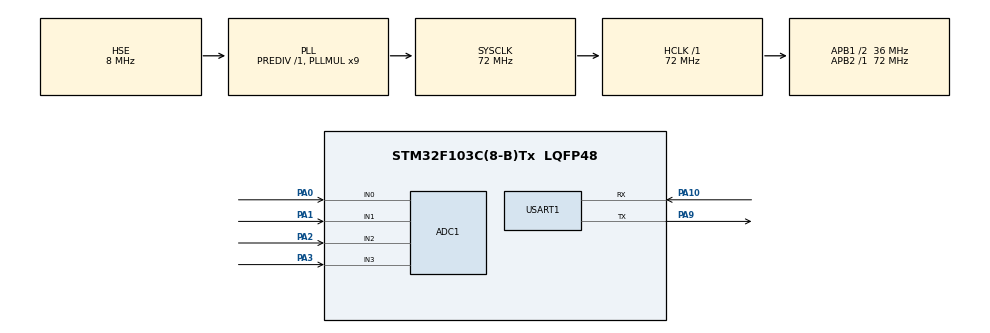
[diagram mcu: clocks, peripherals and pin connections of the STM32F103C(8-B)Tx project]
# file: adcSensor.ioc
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ADC1.Channel-0\#ChannelRegularConversion=ADC_CHANNEL_0
ADC1.NbrOfConversionFlag=1
ADC1.Rank-0\#ChannelRegularConversion=1
ADC1.SamplingTime-0\#ChannelRegularConversion=ADC_SAMPLETIME_1CYCLE_5
ADC1.master=1
Mcu.Family=STM32F1
Mcu.Name=STM32F103C(8-B)Tx
Mcu.Package=LQFP48
NVIC.PriorityGroup=NVIC_PRIORITYGROUP_4
PA0-WKUP.Signal=ADCx_IN0
PA1.Signal=ADCx_IN1
PA10.Mode=Asynchronous
PA10.Signal=USART1_RX
PA2.Signal=ADCx_IN2
PA3.Signal=ADCx_IN3
PA9.Mode=Asynchronous
PA9.Signal=USART1_TX
PD0-OSC_IN.Mode=HSE-External-Oscillator
PD0-OSC_IN.Signal=RCC_OSC_IN
PD1-OSC_OUT.Mode=HSE-External-Oscillator
PD1-OSC_OUT.Signal=RCC_OSC_OUT
ProjectManager.HeapSize=0x200
ProjectManager.StackSize=0x400
ProjectManager.TargetToolchain=STM32CubeIDE
RCC.ADCPresc=RCC_ADCPCLK2_DIV6
RCC.AHBFreq_Value=72000000
RCC.APB1CLKDivider=RCC_HCLK_DIV2
RCC.APB1Freq_Value=36000000
RCC.APB1TimFreq_Value=72000000
RCC.APB2Freq_Value=72000000
RCC.APB2TimFreq_Value=72000000
RCC.HCLKFreq_Value=72000000
RCC.PLLMUL=RCC_PLL_MUL9
RCC.PLLSourceVirtual=RCC_PLLSOURCE_HSE
RCC.SYSCLKFreq_VALUE=72000000
RCC.SYSCLKSource=RCC_SYSCLKSOURCE_PLLCLK
RCC.USBFreq_Value=72000000
SH.ADCx_IN0.0=ADC1_IN0,IN0
SH.ADCx_IN1.0=ADC1_IN1,IN1
SH.ADCx_IN2.0=ADC1_IN2,IN2
SH.ADCx_IN3.0=ADC1_IN3,IN3
USART1.VirtualMode=VM_ASYNC
VP_SYS_VS_ND.Mode=No_Debug
board=custom

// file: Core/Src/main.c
/* USER CODE BEGIN Header */
/**
  ******************************************************************************
  * @file           : main.c
  * @brief          : Main program body
  ******************************************************************************
  * @attention
  *
  * Copyright (c) 2026 STMicroelectronics.
  * All rights reserved.
  *
  * This software is licensed under terms that can be found in the LICENSE file
  * in the root directory of this software component.
  * If no LICENSE file comes with this software, it is provided AS-IS.
  *
  ******************************************************************************
  */
/* USER CODE END Header */
#include "main.h"

ADC_HandleTypeDef hadc1;

UART_HandleTypeDef huart1;

void SystemClock_Config(void);
static void MX_GPIO_Init(void);
static void MX_ADC1_Init(void);
static void MX_USART1_UART_Init(void);

/* USER CODE BEGIN 0 */

//create two functions

uint32_t ADC_Read(uint32_t channel) //channel num -> adc_val 0 to 4095
{
	ADC_ChannelConfTypeDef sConfig = {0};

	sConfig.Channel = channel;  //select the channel
	sConfig.Rank = ADC_REGULAR_RANK_1;
	sConfig.SamplingTime = ADC_SAMPLETIME_55CYCLES_5;

	HAL_ADC_ConfigChannel(&hadc1, &sConfig);

	HAL_ADC_Start(&hadc1);
	HAL_ADC_PollForConversion(&hadc1, 100); //wait till conversion is completed
	uint32_t val = HAL_ADC_GetValue(&hadc1);  //return converted value
	HAL_ADC_Stop(&hadc1);

	return val;
}
// usage in main loop
void read_all_sensors(void)
{
	uint32_t raw_accel = ADC_Read(ADC_CHANNEL_0); //pa0 accelerator
	uint32_t raw_brake = ADC_Read(ADC_CHANNEL_1); //pa1
	uint32_t raw_soc = ADC_Read(ADC_CHANNEL_2); //pa2
	uint32_t raw_temp = ADC_Read(ADC_CHANNEL_3); //pa3

	uint8_t accel_pct = raw_accel * 100/4095;
	uint8_t brake_pct = raw_brake * 100/4095;
	uint8_t soc_pct = raw_soc * 100/4095;
	uint8_t temp_c = raw_temp * 150/4095; //0 to 150 degree C range

	//print over uart
	char buf[80];
	int len = sprintf(buf, "ACCEL=%3d%% BRAKE=%3d%% SOC=%3d%% TEMP=%3d\r\n",
			accel_pct, brake_pct, soc_pct, temp_c);

	HAL_UART_Transmit(&huart1, (uint8_t*)buf, len, 100);
}
/* USER CODE END 0 */

int main(void)
{

  /* MCU Configuration--------------------------------------------------------*/

  /* Reset of all peripherals, Initializes the Flash interface and the Systick. */
  HAL_Init();

  /* Configure the system clock */
  SystemClock_Config();

  /* Initialize all configured peripherals */
  MX_GPIO_Init();
  MX_ADC1_Init();
  MX_USART1_UART_Init();

  /* Infinite loop */
  while (1)
  {

	  //read adc values one by one
	  //scale them
	  //print it on io terminal
	  read_all_sensors();
	  HAL_Delay(200);

  }
}

void SystemClock_Config(void)
{
  RCC_OscInitTypeDef RCC_OscInitStruct = {0};
  RCC_ClkInitTypeDef RCC_ClkInitStruct = {0};
  RCC_PeriphCLKInitTypeDef PeriphClkInit = {0};

  /** Initializes the RCC Oscillators according to the specified parameters
  * in the RCC_OscInitTypeDef structure.
  */
  RCC_OscInitStruct.OscillatorType = RCC_OSCILLATORTYPE_HSE;
  RCC_OscInitStruct.HSEState = RCC_HSE_ON;
  RCC_OscInitStruct.HSEPredivValue = RCC_HSE_PREDIV_DIV1;
  RCC_OscInitStruct.HSIState = RCC_HSI_ON;
  RCC_OscInitStruct.PLL.PLLState = RCC_PLL_ON;
  RCC_OscInitStruct.PLL.PLLSource = RCC_PLLSOURCE_HSE;
  RCC_OscInitStruct.PLL.PLLMUL = RCC_PLL_MUL9;
  if (HAL_RCC_OscConfig(&RCC_OscInitStruct) != HAL_OK)
  {
    Error_Handler();
  }

  /** Initializes the CPU, AHB and APB buses clocks
  */
  RCC_ClkInitStruct.ClockType = RCC_CLOCKTYPE_HCLK|RCC_CLOCKTYPE_SYSCLK
                              |RCC_CLOCKTYPE_PCLK1|RCC_CLOCKTYPE_PCLK2;
  RCC_ClkInitStruct.SYSCLKSource = RCC_SYSCLKSOURCE_PLLCLK;
  RCC_ClkInitStruct.AHBCLKDivider = RCC_SYSCLK_DIV1;
  RCC_ClkInitStruct.APB1CLKDivider = RCC_HCLK_DIV2;
  RCC_ClkInitStruct.APB2CLKDivider = RCC_HCLK_DIV1;

  if (HAL_RCC_ClockConfig(&RCC_ClkInitStruct, FLASH_LATENCY_2) != HAL_OK)
  {
    Error_Handler();
  }
  PeriphClkInit.PeriphClockSelection = RCC_PERIPHCLK_ADC;
  PeriphClkInit.AdcClockSelection = RCC_ADCPCLK2_DIV6;
  if (HAL_RCCEx_PeriphCLKConfig(&PeriphClkInit) != HAL_OK)
  {
    Error_Handler();
  }
}

static void MX_ADC1_Init(void)
{

  ADC_ChannelConfTypeDef sConfig = {0};

  /** Common config
  */
  hadc1.Instance = ADC1;
  hadc1.Init.ScanConvMode = ADC_SCAN_DISABLE;
  hadc1.Init.ContinuousConvMode = DISABLE;
  hadc1.Init.DiscontinuousConvMode = DISABLE;
  hadc1.Init.ExternalTrigConv = ADC_SOFTWARE_START;
  hadc1.Init.DataAlign = ADC_DATAALIGN_RIGHT;
  hadc1.Init.NbrOfConversion = 1;
  if (HAL_ADC_Init(&hadc1) != HAL_OK)
  {
    Error_Handler();
  }

  /** Configure Regular Channel
  */
  sConfig.Channel = ADC_CHANNEL_0;
  sConfig.Rank = ADC_REGULAR_RANK_1;
  sConfig.SamplingTime = ADC_SAMPLETIME_1CYCLE_5;
  if (HAL_ADC_ConfigChannel(&hadc1, &sConfig) != HAL_OK)
  {
    Error_Handler();
  }

}

static void MX_USART1_UART_Init(void)
{

  huart1.Instance = USART1;
  huart1.Init.BaudRate = 115200;
  huart1.Init.WordLength = UART_WORDLENGTH_8B;
  huart1.Init.StopBits = UART_STOPBITS_1;
  huart1.Init.Parity = UART_PARITY_NONE;
  huart1.Init.Mode = UART_MODE_TX_RX;
  huart1.Init.HwFlowCtl = UART_HWCONTROL_NONE;
  huart1.Init.OverSampling = UART_OVERSAMPLING_16;
  if (HAL_UART_Init(&huart1) != HAL_OK)
  {
    Error_Handler();
  }

}

static void MX_GPIO_Init(void)
{

  /* GPIO Ports Clock Enable */
  __HAL_RCC_GPIOD_CLK_ENABLE();
  __HAL_RCC_GPIOA_CLK_ENABLE();

}

void Error_Handler(void)
{
  __disable_irq();
  while (1)
  {
  }
}
